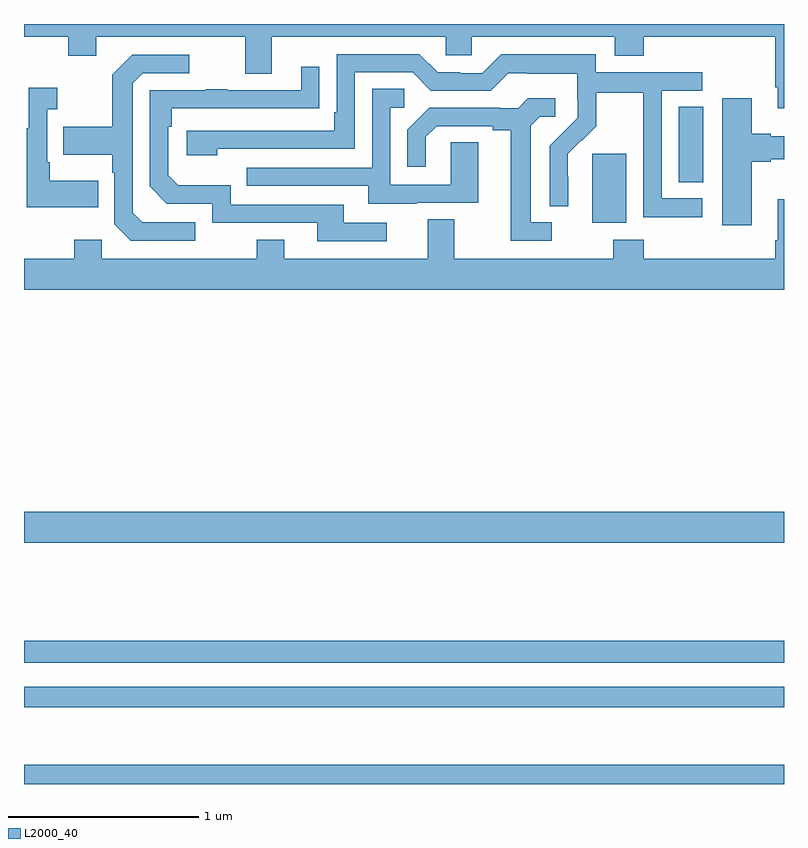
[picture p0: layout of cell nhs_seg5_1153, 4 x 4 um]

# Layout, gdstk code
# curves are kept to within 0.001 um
import gdstk
lib = gdstk.Library(unit=1e-6, precision=1e-09)
def R(c, l, rs):  # rectangles x0, y0, x1, y1
    for r in rs: c.add(gdstk.rectangle(r[:2], r[2:], *l))
def P(c, l, *ps):  # polygons
    for p in ps: c.add(gdstk.Polygon(p, *l))
L2000_40 = (2000, 40)

nhs_seg5_1153 = lib.new_cell('nhs_seg5_1153')
R(nhs_seg5_1153, L2000_40, [(181,880.799,185,880.9), (181,881.202,185,881.31), (181,881.436,185,881.552), (181,882.068,185,882.232), (183.992,883.754,184.171,884.115), (184.445,883.966,184.576,884.363)])
P(nhs_seg5_1153, L2000_40, [(181,884.732),(181.234,884.732),(181.234,884.633),(181.381,884.633),(181.381,884.732),(182.165,884.732),(182.165,884.538),(182.305,884.538),(182.305,884.732),(183.219,884.732),(183.219,884.634),(183.357,884.634),(183.357,884.732),(184.109,884.732),(184.109,884.633),(184.262,884.633),(184.262,884.732),(184.955,884.732),(184.955,884.467),(184.967,884.467),(184.967,884.355),(185,884.355),(185,884.799),(181,884.799)],
  [(184.57,883.881),(184.356,883.881),(184.356,884.448),(184.57,884.448),(184.57,884.544),(184.008,884.544),(184.008,884.641),(183.511,884.641),(183.411,884.541),(183.296,884.541),(183.296,884.544),(183.177,884.544),(183.081,884.64),(182.646,884.64),(182.646,884.335),(182.633,884.335),(182.633,884.238),(181.857,884.238),(181.857,884.108),(182.018,884.108),(182.018,884.142),(182.742,884.142),(182.742,884.544),(183.045,884.544),(183.141,884.448),(183.456,884.448),(183.549,884.541),(183.649,884.541),(183.649,884.537),(183.912,884.537),(183.912,884.403),(183.914,884.403),(183.914,884.306),(183.768,884.158),(183.768,883.84),(183.864,883.84),(183.863,884.117),(183.933,884.187),(183.936,884.184),(184.013,884.261),(184.013,884.436),(184.258,884.436),(184.258,884.212),(184.26,884.212),(184.26,883.783),(184.57,883.783)],
  [(181.9,883.755),(181.623,883.755),(181.572,883.806),(181.572,884.487),(181.626,884.541),(181.87,884.541),(181.87,884.637),(181.569,884.637),(181.464,884.531),(181.464,884.259),(181.207,884.259),(181.207,884.111),(181.464,884.111),(181.464,884.015),(181.476,884.015),(181.476,883.746),(181.563,883.659),(181.9,883.659)],
  [(182.908,883.752),(182.683,883.752),(182.683,883.848),(182.088,883.848),(182.088,883.951),(181.811,883.951),(181.758,884.004),(181.758,884.258),(181.778,884.258),(181.778,884.355),(182.555,884.356),(182.555,884.575),(182.459,884.575),(182.459,884.451),(182.069,884.451),(182.069,884.456),(181.957,884.456),(181.957,884.451),(181.662,884.451),(181.662,883.944),(181.752,883.854),(181.992,883.854),(181.992,883.752),(182.543,883.752),(182.543,883.656),(182.908,883.656)],
  [(181.391,883.975),(181.135,883.975),(181.135,884.071),(181.122,884.071),(181.122,884.351),(181.174,884.351),(181.174,884.464),(181.025,884.464),(181.025,884.251),(181.014,884.251),(181.014,883.835),(181.391,883.835)],
  [(183.067,883.857),(183.391,883.857),(183.391,884.177),(183.246,884.177),(183.246,883.953),(182.928,883.953),(182.928,884.358),(183.001,884.358),(183.001,884.459),(182.832,884.459),(182.832,884.043),(182.173,884.043),(182.173,883.947),(182.813,883.947),(182.813,883.853),(183.067,883.853)],
  [(183.778,883.755),(183.667,883.755),(183.667,884.263),(183.714,884.31),(183.796,884.31),(183.796,884.407),(183.652,884.407),(183.6,884.355),(183.506,884.355),(183.506,884.358),(183.134,884.358),(183.018,884.242),(183.018,884.049),(183.115,884.049),(183.115,884.205),(183.172,884.262),(183.467,884.262),(183.467,884.24),(183.563,884.24),(183.563,883.659),(183.778,883.659)],
  [(184.831,884.075),(184.931,884.075),(184.931,884.087),(185,884.087),(185,884.209),(184.931,884.209),(184.931,884.222),(184.831,884.222),(184.831,884.407),(184.676,884.407),(184.676,883.74),(184.831,883.74)],
  [(185,883.876),(184.967,883.876),(184.967,883.66),(184.955,883.66),(184.955,883.564),(184.262,883.564),(184.262,883.663),(184.102,883.663),(184.102,883.564),(183.265,883.564),(183.265,883.772),(183.125,883.772),(183.125,883.564),(182.371,883.564),(182.371,883.663),(182.224,883.663),(182.224,883.564),(181.41,883.564),(181.41,883.663),(181.264,883.663),(181.264,883.564),(181,883.564),(181,883.4),(185,883.4)])

lib.write_gds('nhs_seg5_1153.gds')
